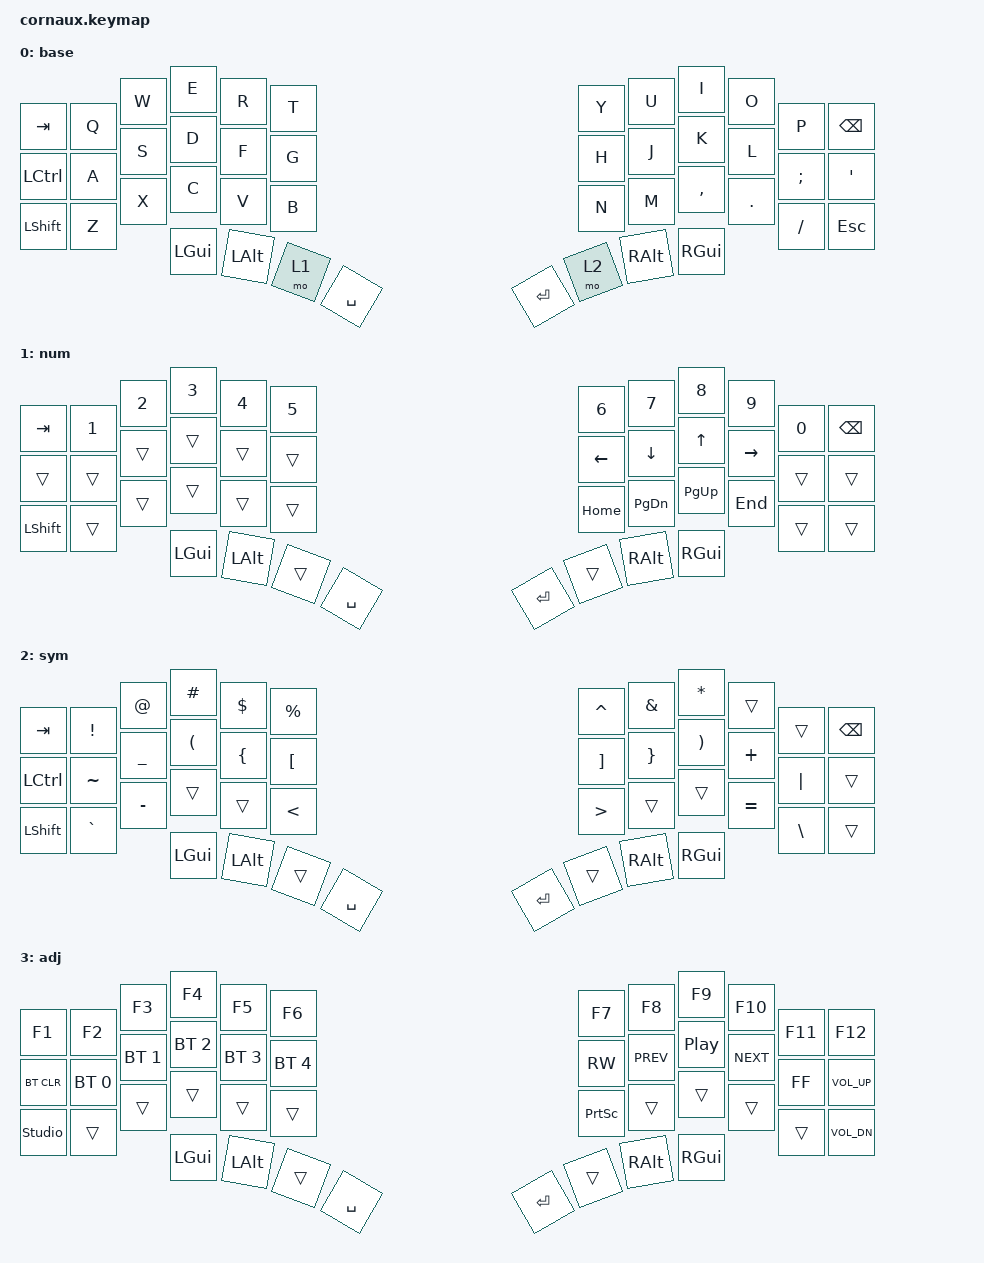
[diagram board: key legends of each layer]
#include <behaviors.dtsi>
#include <dt-bindings/zmk/keys.h>
#include <dt-bindings/zmk/bt.h>

/ {
  conditional_layers {
    compatible = "zmk,conditional-layers";
    adjust_layer {
      if-layers = <1 2>;
      then-layer = <3>;
    };
  };

  keymap {
    compatible = "zmk,keymap";

    default_layer {
      display-name = "base";
      // -----------------------------------------------------------------------------------------
      // |  TAB |  Q  |  W  |  E  |  R  |  T  |   |  Y  |  U   |  I  |  O  |  P  | BSPC |
      // | CTRL |  A  |  S  |  D  |  F  |  G  |   |  H  |  J   |  K  |  L  |  ;  |  '   |
      // | SHFT |  Z  |  X  |  C  |  V  |  B  |   |  N  |  M   |  ,  |  .  |  /  | ESC  |
      //              | GUI | ALT | LWR | SPC |   | ENT | RSE  | ALT | GUI |
      bindings = <
        &kp TAB   &kp Q &kp W &kp E &kp R &kp T       &kp Y &kp U  &kp I     &kp O   &kp P    &kp BSPC
        &kp LCTRL &kp A &kp S &kp D &kp F &kp G       &kp H &kp J  &kp K     &kp L   &kp SEMI &kp SQT
        &kp LSHFT &kp Z &kp X &kp C &kp V &kp B       &kp N &kp M  &kp COMMA &kp DOT &kp FSLH &kp ESC
                  &kp LGUI &kp LALT &mo 1 &kp SPACE   &kp RET &mo 2 &kp RALT &kp RGUI
      >;
    };
    lower_layer {
      display-name = "num";
      // -----------------------------------------------------------------------------------------
      // |  TAB |  1  |  2  |  3  |  4  |  5  |   |  6  |  7  |  8  |  9  |  0  | BSPC |
      // |      |     |     |     |     |     |   | LFT | DWN |  UP | RGT |     |      |
      // | SHFT |     |     |     |     |     |   | HOME|PG_DN|PG_UP| END |     |      |
      //              |     | GUI |     | SPC |   | ENT |     | ALT |     |
      bindings = <
        &kp TAB        &kp N1       &kp N2       &kp N3       &kp N4       &kp N5           &kp N6   &kp N7     &kp N8     &kp N9    &kp N0 &kp BSPC
        &trans         &trans       &trans       &trans       &trans       &trans           &kp LEFT &kp DOWN   &kp UP     &kp RIGHT &trans &trans
        &kp LSHFT      &trans       &trans       &trans       &trans       &trans           &kp HOME &kp PG_DN  &kp PG_UP  &kp END   &trans &trans
                       &kp LGUI     &kp LALT     &trans       &kp SPACE                     &kp RET  &trans     &kp RALT   &kp RGUI
      >;
    };

    raise_layer {
      display-name = "sym";
      // -----------------------------------------------------------------------------------------
      // |  TAB |  !  |  @  |  #  |  $  |  %  |       |  ^  |  &  |  *  |     |     | BSPC |
      // | CTRL |  ~  |  _  |  (  |  {  |  [  |       |  ]  |  }  |  )  |  +  | "|" |      |
      // | SHFT |  `  |  -  |     |     |  <  |       |  >  |     |     |  =  |  \  |      |
      //              | GUI | ALT |     | SPC |       | ENT |     | ALT | GUI |
      bindings = <
        &kp  TAB  &kp EXCL   &kp AT     &kp HASH &kp DLLR   &kp PRCNT     &kp CARET &kp AMPS  &kp ASTRK &trans     &trans   &kp BSPC
        &kp LCTRL &kp TILDE  &kp UNDER  &kp LPAR &kp LBRC   &kp LBKT      &kp RBKT  &kp RBRC  &kp RPAR  &kp PLUS   &kp PIPE &trans
        &kp LSHFT &kp GRAVE  &kp MINUS  &trans   &trans     &kp LT        &kp GT    &trans    &trans    &kp EQUAL  &kp BSLH &trans
                             &kp LGUI   &kp LALT &trans     &kp SPACE     &kp RET   &trans    &kp RALT  &kp RGUI
      >;
    };

    adjust_layer {
      display-name = "adj";
      // -----------------------------------------------------------------------------------------
      // |  F1  | F2  | F3  | F4  | F5  | F6  |       | F7  | F8   | F9  | F10  | F11  | F12  |
      // | BTCLR| BT1 | BT2 | BT3 | BT4 | BT5 |       |C_RW |C_PREV|C_PP |C_NEXT| C_FF |VOL_UP|
      // |STUDIO|     |     |     |     |     |       |PSCRN|      |     |      |      |VOL_DN|
      //              | GUI | ALT |     | SPC |       | ENT |      | ALT | GUI  |
      bindings = <
        &kp  F1        &kp F2        &kp F3       &kp F4       &kp F5       &kp F6             &kp F7    &kp F8      &kp F9    &kp F10    &kp F11  &kp F12
        &bt BT_CLR     &bt BT_SEL 0  &bt BT_SEL 1 &bt BT_SEL 2 &bt BT_SEL 3 &bt BT_SEL 4       &kp C_RW  &kp C_PREV  &kp C_PP  &kp C_NEXT &kp C_FF &kp C_VOL_UP
        &studio_unlock &trans        &trans       &trans       &trans       &trans             &kp PSCRN &trans      &trans    &trans     &trans   &kp C_VOL_DN
                                     &kp LGUI     &kp LALT     &trans       &kp SPACE          &kp RET   &trans      &kp RALT  &kp RGUI
      >;
    };
  };
};

